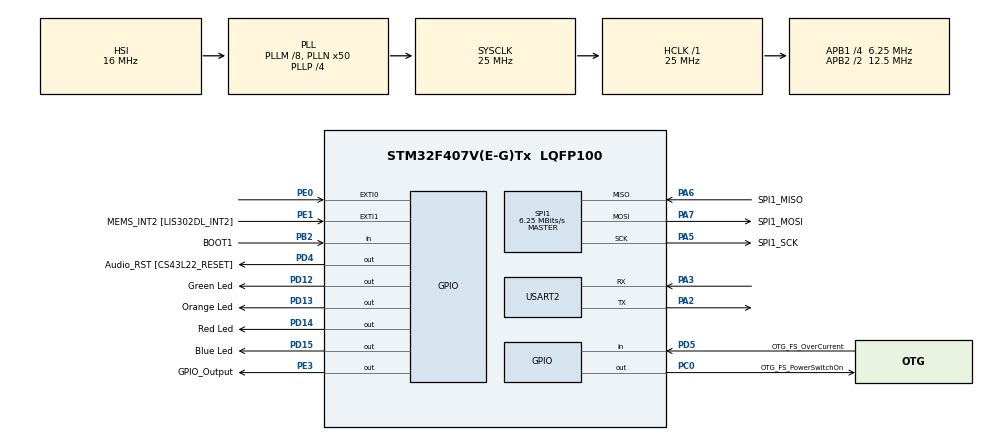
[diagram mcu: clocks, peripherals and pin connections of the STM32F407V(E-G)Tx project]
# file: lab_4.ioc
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Mcu.Family=STM32F4
Mcu.Name=STM32F407V(E-G)Tx
Mcu.Package=LQFP100
NVIC.PriorityGroup=NVIC_PRIORITYGROUP_4
NVIC.TIM7_IRQn=true\:0\:0\:false\:false\:true\:false\:true\:true
NVIC.TimeBase=TIM7_IRQn
NVIC.TimeBaseIP=TIM7
PA10.GPIO_Label=OTG_FS_ID
PA10.GPIO_Mode=GPIO_MODE_AF_PP
PA10.GPIO_PuPd=GPIO_NOPULL
PA10.GPIO_Speed=GPIO_SPEED_FREQ_LOW
PA10.Signal=USB_OTG_FS_ID
PA11.GPIO_Label=OTG_FS_DM
PA11.GPIO_Mode=GPIO_MODE_AF_PP
PA11.GPIO_PuPd=GPIO_NOPULL
PA11.GPIO_Speed=GPIO_SPEED_FREQ_LOW
PA11.Signal=USB_OTG_FS_DM
PA12.GPIO_Label=OTG_FS_DP
PA12.GPIO_Mode=GPIO_MODE_AF_PP
PA12.GPIO_PuPd=GPIO_NOPULL
PA12.GPIO_Speed=GPIO_SPEED_FREQ_LOW
PA12.Signal=USB_OTG_FS_DP
PA13.GPIO_Label=SWDIO
PA13.Mode=Serial_Wire
PA13.Signal=SYS_JTMS-SWDIO
PA14.GPIO_Label=SWCLK
PA14.Mode=Serial_Wire
PA14.Signal=SYS_JTCK-SWCLK
PA2.Mode=Asynchronous
PA2.Signal=USART2_TX
PA3.Mode=Asynchronous
PA3.Signal=USART2_RX
PA4.GPIO_Label=I2S3_WS [CS43L22_LRCK]
PA4.GPIO_Mode=GPIO_MODE_AF_PP
PA4.GPIO_PuPd=GPIO_NOPULL
PA4.GPIO_Speed=GPIO_SPEED_FREQ_LOW
PA4.Signal=I2S3_WS
PA5.GPIO_Label=SPI1_SCK
PA5.GPIO_Mode=GPIO_MODE_AF_PP
PA5.GPIO_PuPd=GPIO_NOPULL
PA5.GPIO_Speed=GPIO_SPEED_FREQ_LOW
PA5.Mode=Full_Duplex_Master
PA5.Signal=SPI1_SCK
PA6.GPIO_Label=SPI1_MISO
PA6.GPIO_Mode=GPIO_MODE_AF_PP
PA6.GPIO_PuPd=GPIO_NOPULL
PA6.GPIO_Speed=GPIO_SPEED_FREQ_LOW
PA6.Mode=Full_Duplex_Master
PA6.Signal=SPI1_MISO
PA7.GPIO_Label=SPI1_MOSI
PA7.GPIO_Mode=GPIO_MODE_AF_PP
PA7.GPIO_PuPd=GPIO_NOPULL
PA7.GPIO_Speed=GPIO_SPEED_FREQ_LOW
PA7.Mode=Full_Duplex_Master
PA7.Signal=SPI1_MOSI
PA9.GPIO_Label=VBUS_FS
PA9.GPIO_Mode=GPIO_MODE_INPUT
PA9.GPIO_PuPd=GPIO_NOPULL
PA9.Signal=USB_OTG_FS_VBUS
PB10.GPIO_Label=CLK_IN [MP45DT02_CLK]
PB10.GPIO_Mode=GPIO_MODE_AF_PP
PB10.GPIO_PuPd=GPIO_NOPULL
PB10.GPIO_Speed=GPIO_SPEED_FREQ_LOW
PB10.Signal=I2S2_CK
PB2.GPIO_Label=BOOT1
PB2.GPIO_Mode=GPIO_MODE_INPUT
PB2.GPIO_PuPd=GPIO_NOPULL
PB2.Signal=GPIO_Input
PB3.GPIO_Label=SWO
PB3.Signal=SYS_JTDO-SWO
PB6.GPIO_Label=Audio_SCL [CS43L22_SCL]
PB6.GPIO_Mode=GPIO_MODE_AF_OD
PB6.GPIO_PuPd=GPIO_NOPULL
PB6.GPIO_Speed=GPIO_SPEED_FREQ_LOW
PB6.Signal=I2C1_SCL
PB9.GPIO_Label=Audio_SDA [CS43L22_SDA]
PB9.GPIO_Mode=GPIO_MODE_AF_OD
PB9.GPIO_PuPd=GPIO_NOPULL
PB9.GPIO_Speed=GPIO_SPEED_FREQ_LOW
PB9.Signal=I2C1_SDA
PC0.GPIO_Label=OTG_FS_PowerSwitchOn
PC0.GPIO_PuPd=GPIO_NOPULL
PC0.GPIO_Speed=GPIO_SPEED_FREQ_LOW
PC0.PinState=GPIO_PIN_SET
PC0.Signal=GPIO_Output
PC10.GPIO_Label=I2S3_SCK [CS43L22_SCLK]
PC10.GPIO_Mode=GPIO_MODE_AF_PP
PC10.GPIO_PuPd=GPIO_NOPULL
PC10.GPIO_Speed=GPIO_SPEED_FREQ_LOW
PC10.Signal=I2S3_CK
PC12.GPIO_Label=I2S3_SD [CS43L22_SDIN]
PC12.GPIO_Mode=GPIO_MODE_AF_PP
PC12.GPIO_PuPd=GPIO_NOPULL
PC12.GPIO_Speed=GPIO_SPEED_FREQ_LOW
PC12.Signal=I2S3_SD
PC14-OSC32_IN.GPIO_Label=PC14-OSC32_IN
PC14-OSC32_IN.Signal=RCC_OSC32_IN
PC15-OSC32_OUT.GPIO_Label=PC15-OSC32_OUT
PC15-OSC32_OUT.Signal=RCC_OSC32_OUT
PC3.GPIO_Label=PDM_OUT [MP45DT02_DOUT]
PC3.GPIO_Mode=GPIO_MODE_AF_PP
PC3.GPIO_PuPd=GPIO_NOPULL
PC3.GPIO_Speed=GPIO_SPEED_FREQ_LOW
PC3.Signal=I2S2_SD
PC7.GPIO_Label=I2S3_MCK [CS43L22_MCLK]
PC7.GPIO_Mode=GPIO_MODE_AF_PP
PC7.GPIO_PuPd=GPIO_NOPULL
PC7.GPIO_Speed=GPIO_SPEED_FREQ_LOW
PC7.Signal=I2S3_MCK
PD12.GPIO_Label=Green Led
PD12.GPIO_PuPd=GPIO_NOPULL
PD12.GPIO_Speed=GPIO_SPEED_FREQ_LOW
PD12.Signal=GPIO_Output
PD13.GPIO_Label=Orange Led
PD13.GPIO_PuPd=GPIO_NOPULL
PD13.GPIO_Speed=GPIO_SPEED_FREQ_LOW
PD13.Signal=GPIO_Output
PD14.GPIO_Label=Red Led
PD14.GPIO_PuPd=GPIO_NOPULL
PD14.GPIO_Speed=GPIO_SPEED_FREQ_LOW
PD14.Signal=GPIO_Output
PD15.GPIO_Label=Blue Led
PD15.GPIO_PuPd=GPIO_NOPULL
PD15.GPIO_Speed=GPIO_SPEED_FREQ_LOW
PD15.Signal=GPIO_Output
PD4.GPIO_Label=Audio_RST [CS43L22_RESET]
PD4.GPIO_PuPd=GPIO_NOPULL
PD4.GPIO_Speed=GPIO_SPEED_FREQ_LOW
PD4.Signal=GPIO_Output
PD5.GPIO_Label=OTG_FS_OverCurrent
PD5.GPIO_Mode=GPIO_MODE_INPUT
PD5.GPIO_PuPd=GPIO_NOPULL
PD5.Signal=GPIO_Input
PE0.Signal=GPXTI0
PE1.GPIO_Label=MEMS_INT2 [LIS302DL_INT2]
PE1.GPIO_ModeDefaultEXTI=GPIO_MODE_EVT_RISING
PE1.GPIO_PuPd=GPIO_NOPULL
PE1.Signal=GPXTI1
PE3.GPIO_Label=GPIO_Output
PE3.GPIO_PuPd=GPIO_NOPULL
PE3.GPIO_Speed=GPIO_SPEED_FREQ_LOW
PE3.Signal=GPIO_Output
PH0-OSC_IN.GPIO_Label=PH0-OSC_IN
PH0-OSC_IN.Signal=RCC_OSC_IN
PH1-OSC_OUT.GPIO_Label=PH1-OSC_OUT
PH1-OSC_OUT.Signal=RCC_OSC_OUT
ProjectManager.HeapSize=0x200
ProjectManager.StackSize=0x400
ProjectManager.TargetToolchain=STM32CubeIDE
RCC.48MHZClocksFreq_Value=14285714.285714285
RCC.AHBFreq_Value=25000000
RCC.APB1CLKDivider=RCC_HCLK_DIV4
RCC.APB1Freq_Value=6250000
RCC.APB1TimFreq_Value=12500000
RCC.APB2CLKDivider=RCC_HCLK_DIV2
RCC.APB2Freq_Value=12500000
RCC.APB2TimFreq_Value=25000000
RCC.CortexFreq_Value=25000000
RCC.HCLKFreq_Value=25000000
RCC.HSE_VALUE=8000000
RCC.HSI_VALUE=16000000
RCC.LSE_VALUE=32768
RCC.PLLM=8
RCC.PLLN=50
RCC.PLLP=RCC_PLLP_DIV4
RCC.PLLQ=7
RCC.SYSCLKFreq_VALUE=25000000
RCC.SYSCLKSource=RCC_SYSCLKSOURCE_PLLCLK
RCC.VCOOutputFreq_Value=100000000
SPI1.CalculateBaudRate=6.25 MBits/s
SPI1.Direction=SPI_DIRECTION_2LINES
SPI1.Mode=SPI_MODE_MASTER
SPI1.VirtualType=VM_MASTER
USART2.VirtualMode=VM_ASYNC
VP_SYS_VS_tim7.Mode=TIM7
board=STM32F407G-DISC1

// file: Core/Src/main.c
/* USER CODE BEGIN Header */
/**
  ******************************************************************************
  * @file           : main.c
  * @brief          : Main program body
  ******************************************************************************
  * @attention
  *
  * Copyright (c) 2022 STMicroelectronics.
  * All rights reserved.
  *
  * This software is licensed under terms that can be found in the LICENSE file
  * in the root directory of this software component.
  * If no LICENSE file comes with this software, it is provided AS-IS.
  *
  ******************************************************************************
  */
/* USER CODE END Header */
#include "main.h"

/* USER CODE BEGIN Includes */
#include "FreeRTOS.h"
#include "task.h"
/* USER CODE END Includes */

SPI_HandleTypeDef hspi1;

UART_HandleTypeDef huart2;

void SystemClock_Config(void);
static void MX_GPIO_Init(void);
static void MX_SPI1_Init(void);
static void MX_USART2_UART_Init(void);

/* USER CODE BEGIN 0 */
void red_LED_task(void *pvParameters)
{
	while (1) {
		HAL_GPIO_TogglePin(GPIOD, GPIO_PIN_14);
		vTaskDelay(500);
	}
}

void green_LED_task(void *pvParameters)
{
	while (1) {
		HAL_GPIO_TogglePin(GPIOD, GPIO_PIN_12);
		vTaskDelay(1000);
	}
}

void task1(void *pvParameters)
{
    while (1) {
        vTaskDelete(NULL);
    }
}

void task2(void *pvParameters)
{
    while (1) {
        vTaskDelete(NULL);
    }
}

void task3(void *pvParameters)
{
    while (1) {
        vTaskDelete(NULL);
    }
}

void print_task(void *pvParameters)
{
    while (1) {
		vPrintFreeList();
	}
}
/* USER CODE END 0 */

int main(void)
{

  /* MCU Configuration--------------------------------------------------------*/

  /* Reset of all peripherals, Initializes the Flash interface and the Systick. */
  HAL_Init();

  /* Configure the system clock */
  SystemClock_Config();

  /* Initialize all configured peripherals */
  MX_GPIO_Init();
  MX_SPI1_Init();
  MX_USART2_UART_Init();
  /* USER CODE BEGIN 2 */
  xTaskCreate(red_LED_task, "RED_LED", 100, NULL, 0, NULL);
  xTaskCreate(task1, "TASK1", 50, NULL, 0, NULL);
  xTaskCreate(task2, "TASK2", 30, NULL, 0, NULL);
  xTaskCreate(green_LED_task, "GREEN_LED", 130, NULL, 0, NULL);
  xTaskCreate(task3, "TASK3", 40, NULL, 0, NULL);
  xTaskCreate(print_task, "PRINT", 130, NULL, 0, NULL);
  vTaskStartScheduler();
  /* USER CODE END 2 */

  /* Infinite loop */
  while (1)
  {

  }
}

void SystemClock_Config(void)
{
  RCC_OscInitTypeDef RCC_OscInitStruct = {0};
  RCC_ClkInitTypeDef RCC_ClkInitStruct = {0};

  /** Configure the main internal regulator output voltage
  */
  __HAL_RCC_PWR_CLK_ENABLE();
  __HAL_PWR_VOLTAGESCALING_CONFIG(PWR_REGULATOR_VOLTAGE_SCALE1);

  /** Initializes the RCC Oscillators according to the specified parameters
  * in the RCC_OscInitTypeDef structure.
  */
  RCC_OscInitStruct.OscillatorType = RCC_OSCILLATORTYPE_HSI;
  RCC_OscInitStruct.HSIState = RCC_HSI_ON;
  RCC_OscInitStruct.HSICalibrationValue = RCC_HSICALIBRATION_DEFAULT;
  RCC_OscInitStruct.PLL.PLLState = RCC_PLL_ON;
  RCC_OscInitStruct.PLL.PLLSource = RCC_PLLSOURCE_HSI;
  RCC_OscInitStruct.PLL.PLLM = 8;
  RCC_OscInitStruct.PLL.PLLN = 50;
  RCC_OscInitStruct.PLL.PLLP = RCC_PLLP_DIV4;
  RCC_OscInitStruct.PLL.PLLQ = 7;
  if (HAL_RCC_OscConfig(&RCC_OscInitStruct) != HAL_OK)
  {
    Error_Handler();
  }

  /** Initializes the CPU, AHB and APB buses clocks
  */
  RCC_ClkInitStruct.ClockType = RCC_CLOCKTYPE_HCLK|RCC_CLOCKTYPE_SYSCLK
                              |RCC_CLOCKTYPE_PCLK1|RCC_CLOCKTYPE_PCLK2;
  RCC_ClkInitStruct.SYSCLKSource = RCC_SYSCLKSOURCE_PLLCLK;
  RCC_ClkInitStruct.AHBCLKDivider = RCC_SYSCLK_DIV1;
  RCC_ClkInitStruct.APB1CLKDivider = RCC_HCLK_DIV4;
  RCC_ClkInitStruct.APB2CLKDivider = RCC_HCLK_DIV2;

  if (HAL_RCC_ClockConfig(&RCC_ClkInitStruct, FLASH_LATENCY_0) != HAL_OK)
  {
    Error_Handler();
  }
}

static void MX_SPI1_Init(void)
{

  /* SPI1 parameter configuration*/
  hspi1.Instance = SPI1;
  hspi1.Init.Mode = SPI_MODE_MASTER;
  hspi1.Init.Direction = SPI_DIRECTION_2LINES;
  hspi1.Init.DataSize = SPI_DATASIZE_8BIT;
  hspi1.Init.CLKPolarity = SPI_POLARITY_LOW;
  hspi1.Init.CLKPhase = SPI_PHASE_1EDGE;
  hspi1.Init.NSS = SPI_NSS_SOFT;
  hspi1.Init.BaudRatePrescaler = SPI_BAUDRATEPRESCALER_2;
  hspi1.Init.FirstBit = SPI_FIRSTBIT_MSB;
  hspi1.Init.TIMode = SPI_TIMODE_DISABLE;
  hspi1.Init.CRCCalculation = SPI_CRCCALCULATION_DISABLE;
  hspi1.Init.CRCPolynomial = 10;
  if (HAL_SPI_Init(&hspi1) != HAL_OK)
  {
    Error_Handler();
  }

}

static void MX_USART2_UART_Init(void)
{

  huart2.Instance = USART2;
  huart2.Init.BaudRate = 115200;
  huart2.Init.WordLength = UART_WORDLENGTH_8B;
  huart2.Init.StopBits = UART_STOPBITS_1;
  huart2.Init.Parity = UART_PARITY_NONE;
  huart2.Init.Mode = UART_MODE_TX_RX;
  huart2.Init.HwFlowCtl = UART_HWCONTROL_NONE;
  huart2.Init.OverSampling = UART_OVERSAMPLING_16;
  if (HAL_UART_Init(&huart2) != HAL_OK)
  {
    Error_Handler();
  }

}

static void MX_GPIO_Init(void)
{
  GPIO_InitTypeDef GPIO_InitStruct = {0};

  /* GPIO Ports Clock Enable */
  __HAL_RCC_GPIOE_CLK_ENABLE();
  __HAL_RCC_GPIOC_CLK_ENABLE();
  __HAL_RCC_GPIOH_CLK_ENABLE();
  __HAL_RCC_GPIOA_CLK_ENABLE();
  __HAL_RCC_GPIOB_CLK_ENABLE();
  __HAL_RCC_GPIOD_CLK_ENABLE();

  /*Configure GPIO pin Output Level */
  HAL_GPIO_WritePin(GPIO_Output_GPIO_Port, GPIO_Output_Pin, GPIO_PIN_RESET);

  /*Configure GPIO pin Output Level */
  HAL_GPIO_WritePin(OTG_FS_PowerSwitchOn_GPIO_Port, OTG_FS_PowerSwitchOn_Pin, GPIO_PIN_SET);

  /*Configure GPIO pin Output Level */
  HAL_GPIO_WritePin(GPIOD, Green_Led_Pin|Orange_Led_Pin|Red_Led_Pin|Blue_Led_Pin
                          |Audio_RST_Pin, GPIO_PIN_RESET);

  /*Configure GPIO pin : GPIO_Output_Pin */
  GPIO_InitStruct.Pin = GPIO_Output_Pin;
  GPIO_InitStruct.Mode = GPIO_MODE_OUTPUT_PP;
  GPIO_InitStruct.Pull = GPIO_NOPULL;
  GPIO_InitStruct.Speed = GPIO_SPEED_FREQ_LOW;
  HAL_GPIO_Init(GPIO_Output_GPIO_Port, &GPIO_InitStruct);

  /*Configure GPIO pin : OTG_FS_PowerSwitchOn_Pin */
  GPIO_InitStruct.Pin = OTG_FS_PowerSwitchOn_Pin;
  GPIO_InitStruct.Mode = GPIO_MODE_OUTPUT_PP;
  GPIO_InitStruct.Pull = GPIO_NOPULL;
  GPIO_InitStruct.Speed = GPIO_SPEED_FREQ_LOW;
  HAL_GPIO_Init(OTG_FS_PowerSwitchOn_GPIO_Port, &GPIO_InitStruct);

  /*Configure GPIO pin : PDM_OUT_Pin */
  GPIO_InitStruct.Pin = PDM_OUT_Pin;
  GPIO_InitStruct.Mode = GPIO_MODE_AF_PP;
  GPIO_InitStruct.Pull = GPIO_NOPULL;
  GPIO_InitStruct.Speed = GPIO_SPEED_FREQ_LOW;
  GPIO_InitStruct.Alternate = GPIO_AF5_SPI2;
  HAL_GPIO_Init(PDM_OUT_GPIO_Port, &GPIO_InitStruct);

  /*Configure GPIO pin : I2S3_WS_Pin */
  GPIO_InitStruct.Pin = I2S3_WS_Pin;
  GPIO_InitStruct.Mode = GPIO_MODE_AF_PP;
  GPIO_InitStruct.Pull = GPIO_NOPULL;
  GPIO_InitStruct.Speed = GPIO_SPEED_FREQ_LOW;
  GPIO_InitStruct.Alternate = GPIO_AF6_SPI3;
  HAL_GPIO_Init(I2S3_WS_GPIO_Port, &GPIO_InitStruct);

  /*Configure GPIO pin : BOOT1_Pin */
  GPIO_InitStruct.Pin = BOOT1_Pin;
  GPIO_InitStruct.Mode = GPIO_MODE_INPUT;
  GPIO_InitStruct.Pull = GPIO_NOPULL;
  HAL_GPIO_Init(BOOT1_GPIO_Port, &GPIO_InitStruct);

  /*Configure GPIO pin : CLK_IN_Pin */
  GPIO_InitStruct.Pin = CLK_IN_Pin;
  GPIO_InitStruct.Mode = GPIO_MODE_AF_PP;
  GPIO_InitStruct.Pull = GPIO_NOPULL;
  GPIO_InitStruct.Speed = GPIO_SPEED_FREQ_LOW;
  GPIO_InitStruct.Alternate = GPIO_AF5_SPI2;
  HAL_GPIO_Init(CLK_IN_GPIO_Port, &GPIO_InitStruct);

  /*Configure GPIO pins : Green_Led_Pin Orange_Led_Pin Red_Led_Pin Blue_Led_Pin
                           Audio_RST_Pin */
  GPIO_InitStruct.Pin = Green_Led_Pin|Orange_Led_Pin|Red_Led_Pin|Blue_Led_Pin
                          |Audio_RST_Pin;
  GPIO_InitStruct.Mode = GPIO_MODE_OUTPUT_PP;
  GPIO_InitStruct.Pull = GPIO_NOPULL;
  GPIO_InitStruct.Speed = GPIO_SPEED_FREQ_LOW;
  HAL_GPIO_Init(GPIOD, &GPIO_InitStruct);

  /*Configure GPIO pins : I2S3_MCK_Pin I2S3_SCK_Pin I2S3_SD_Pin */
  GPIO_InitStruct.Pin = I2S3_MCK_Pin|I2S3_SCK_Pin|I2S3_SD_Pin;
  GPIO_InitStruct.Mode = GPIO_MODE_AF_PP;
  GPIO_InitStruct.Pull = GPIO_NOPULL;
  GPIO_InitStruct.Speed = GPIO_SPEED_FREQ_LOW;
  GPIO_InitStruct.Alternate = GPIO_AF6_SPI3;
  HAL_GPIO_Init(GPIOC, &GPIO_InitStruct);

  /*Configure GPIO pin : VBUS_FS_Pin */
  GPIO_InitStruct.Pin = VBUS_FS_Pin;
  GPIO_InitStruct.Mode = GPIO_MODE_INPUT;
  GPIO_InitStruct.Pull = GPIO_NOPULL;
  HAL_GPIO_Init(VBUS_FS_GPIO_Port, &GPIO_InitStruct);

  /*Configure GPIO pins : OTG_FS_ID_Pin OTG_FS_DM_Pin OTG_FS_DP_Pin */
  GPIO_InitStruct.Pin = OTG_FS_ID_Pin|OTG_FS_DM_Pin|OTG_FS_DP_Pin;
  GPIO_InitStruct.Mode = GPIO_MODE_AF_PP;
  GPIO_InitStruct.Pull = GPIO_NOPULL;
  GPIO_InitStruct.Speed = GPIO_SPEED_FREQ_LOW;
  GPIO_InitStruct.Alternate = GPIO_AF10_OTG_FS;
  HAL_GPIO_Init(GPIOA, &GPIO_InitStruct);

  /*Configure GPIO pin : OTG_FS_OverCurrent_Pin */
  GPIO_InitStruct.Pin = OTG_FS_OverCurrent_Pin;
  GPIO_InitStruct.Mode = GPIO_MODE_INPUT;
  GPIO_InitStruct.Pull = GPIO_NOPULL;
  HAL_GPIO_Init(OTG_FS_OverCurrent_GPIO_Port, &GPIO_InitStruct);

  /*Configure GPIO pins : Audio_SCL_Pin Audio_SDA_Pin */
  GPIO_InitStruct.Pin = Audio_SCL_Pin|Audio_SDA_Pin;
  GPIO_InitStruct.Mode = GPIO_MODE_AF_OD;
  GPIO_InitStruct.Pull = GPIO_NOPULL;
  GPIO_InitStruct.Speed = GPIO_SPEED_FREQ_LOW;
  GPIO_InitStruct.Alternate = GPIO_AF4_I2C1;
  HAL_GPIO_Init(GPIOB, &GPIO_InitStruct);

  /*Configure GPIO pin : PE0 */
  GPIO_InitStruct.Pin = GPIO_PIN_0;
  GPIO_InitStruct.Mode = GPIO_MODE_IT_RISING;
  GPIO_InitStruct.Pull = GPIO_NOPULL;
  HAL_GPIO_Init(GPIOE, &GPIO_InitStruct);

  /*Configure GPIO pin : MEMS_INT2_Pin */
  GPIO_InitStruct.Pin = MEMS_INT2_Pin;
  GPIO_InitStruct.Mode = GPIO_MODE_EVT_RISING;
  GPIO_InitStruct.Pull = GPIO_NOPULL;
  HAL_GPIO_Init(MEMS_INT2_GPIO_Port, &GPIO_InitStruct);

}

void HAL_TIM_PeriodElapsedCallback(TIM_HandleTypeDef *htim)
{
  if (htim->Instance == TIM7)
  {
    HAL_IncTick();
  }
}

void Error_Handler(void)
{
  __disable_irq();
  while (1)
  {
  }
}
